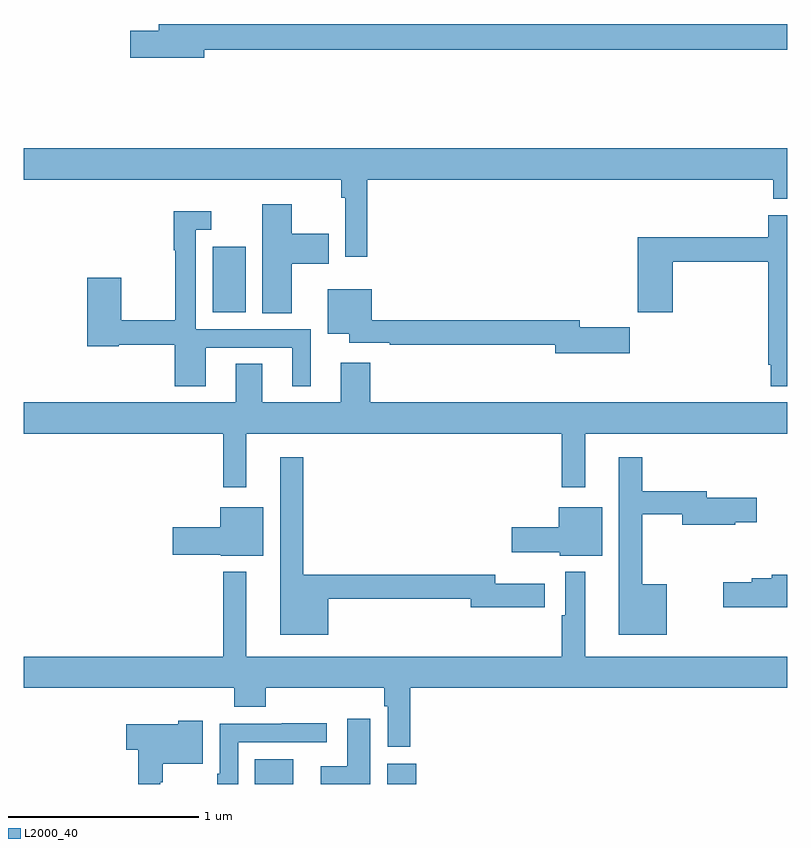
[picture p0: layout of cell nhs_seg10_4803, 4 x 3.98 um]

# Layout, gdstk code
import gdstk
lib = gdstk.Library(unit=1e-6, precision=1e-09)
def R(c, l, rs):  # rectangles x0, y0, x1, y1
    for r in rs: c.add(gdstk.rectangle(r[:2], r[2:], *l))
def P(c, l, *ps):  # polygons
    for p in ps: c.add(gdstk.Polygon(p, *l))
L2000_40 = (2000, 40)

nhs_seg10_4803 = lib.new_cell('nhs_seg10_4803')
R(nhs_seg10_4803, L2000_40, [(388.211,1278.5,388.411,1278.631), (388.904,1278.5,389.057,1278.607), (387.989,1280.972,388.162,1281.316)])
P(nhs_seg10_4803, L2000_40, [(387.946,1282.348),(391,1282.348),(391,1282.484),(387.707,1282.484),(387.707,1282.448),(387.558,1282.448),(387.558,1282.306),(387.946,1282.306)],
  [(388.799,1281.668),(390.929,1281.668),(390.929,1281.569),(391,1281.569),(391,1281.832),(387,1281.832),(387,1281.668),(388.663,1281.668),(388.663,1281.572),(388.683,1281.572),(388.683,1281.264),(388.799,1281.264)],
  [(388.405,1281.227),(388.598,1281.227),(388.598,1281.385),(388.405,1281.385),(388.405,1281.538),(388.25,1281.538),(388.25,1280.968),(388.405,1280.968)],
  [(387.952,1280.787),(388.406,1280.787),(388.406,1280.586),(388.504,1280.586),(388.504,1280.883),(387.9,1280.883),(387.9,1281.405),(387.982,1281.405),(387.982,1281.502),(387.784,1281.502),(387.784,1281.298),(387.792,1281.298),(387.792,1280.93),(387.51,1280.93),(387.51,1281.154),(387.332,1281.154),(387.332,1280.794),(387.498,1280.794),(387.498,1280.802),(387.791,1280.802),(387.791,1280.586),(387.952,1280.586)],
  [(391,1281.482),(390.902,1281.482),(390.902,1281.367),(390.218,1281.367),(390.218,1280.973),(390.401,1280.973),(390.401,1281.238),(390.902,1281.238),(390.902,1280.698),(390.914,1280.698),(390.914,1280.586),(391,1280.586)],
  [(390.175,1280.894),(389.914,1280.894),(389.914,1280.93),(388.822,1280.93),(388.822,1281.094),(388.592,1281.094),(388.592,1280.861),(388.706,1280.861),(388.706,1280.814),(388.918,1280.814),(388.918,1280.802),(389.786,1280.802),(389.786,1280.759),(390.175,1280.759)],
  [(388.165,1280.336),(389.82,1280.336),(389.82,1280.055),(389.941,1280.055),(389.941,1280.336),(391,1280.336),(391,1280.5),(388.814,1280.5),(388.814,1280.707),(388.661,1280.707),(388.661,1280.5),(388.249,1280.5),(388.249,1280.702),(388.109,1280.702),(388.109,1280.5),(387,1280.5),(387,1280.336),(388.044,1280.336),(388.044,1280.055),(388.165,1280.055)],
  [(388.594,1279.47),(389.342,1279.47),(389.342,1279.427),(389.731,1279.427),(389.731,1279.549),(389.47,1279.549),(389.47,1279.598),(388.465,1279.598),(388.465,1280.212),(388.343,1280.212),(388.343,1279.283),(388.594,1279.283)],
  [(390.37,1279.546),(390.241,1279.546),(390.241,1279.914),(390.452,1279.914),(390.452,1279.859),(390.728,1279.859),(390.728,1279.871),(390.841,1279.871),(390.841,1280.001),(390.58,1280.001),(390.58,1280.035),(390.241,1280.035),(390.241,1280.212),(390.119,1280.212),(390.119,1279.283),(390.37,1279.283)],
  [(390.031,1279.951),(389.804,1279.951),(389.804,1279.845),(389.556,1279.845),(389.556,1279.715),(389.808,1279.715),(389.808,1279.697),(390.031,1279.697)],
  [(388.255,1279.951),(388.028,1279.951),(388.028,1279.845),(387.78,1279.845),(387.78,1279.703),(388.032,1279.703),(388.032,1279.697),(388.255,1279.697)],
  [(389.024,1279.004),(391,1279.004),(391,1279.168),(389.941,1279.168),(389.941,1279.612),(389.837,1279.612),(389.837,1279.385),(389.82,1279.385),(389.82,1279.168),(388.165,1279.168),(388.165,1279.612),(388.044,1279.612),(388.044,1279.168),(387,1279.168),(387,1279.004),(388.103,1279.004),(388.103,1278.905),(388.268,1278.905),(388.268,1279.004),(388.888,1279.004),(388.888,1278.908),(388.908,1278.908),(388.908,1278.696),(389.024,1278.696)],
  [(391,1279.598),(390.919,1279.598),(390.919,1279.579),(390.815,1279.579),(390.815,1279.557),(390.666,1279.557),(390.666,1279.427),(391,1279.427)],
  [(388.816,1278.841),(388.694,1278.841),(388.694,1278.594),(388.556,1278.594),(388.556,1278.5),(388.816,1278.5)],
  [(387.714,1278.509),(387.727,1278.509),(387.727,1278.605),(387.937,1278.605),(387.937,1278.832),(387.81,1278.832),(387.81,1278.814),(387.537,1278.814),(387.537,1278.68),(387.598,1278.68),(387.598,1278.5),(387.714,1278.5)],
  [(388.122,1278.72),(388.588,1278.72),(388.588,1278.818),(388.351,1278.818),(388.351,1278.816),(388.026,1278.816),(388.026,1278.553),(388.014,1278.553),(388.014,1278.5),(388.122,1278.5)])

lib.write_gds('nhs_seg10_4803.gds')
